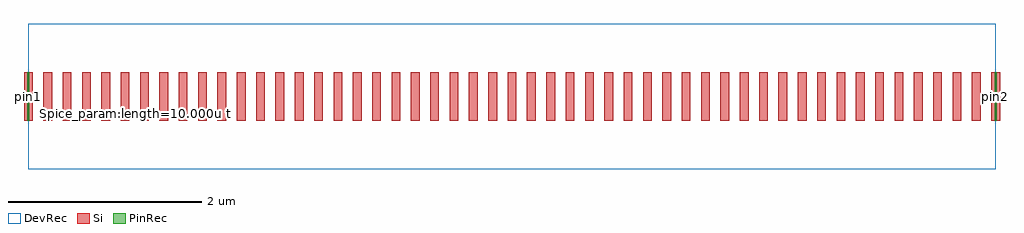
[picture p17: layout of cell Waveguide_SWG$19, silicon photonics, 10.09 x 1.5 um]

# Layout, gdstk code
import gdstk
lib = gdstk.Library(unit=1e-6, precision=1e-09)
def R(c, l, rs):  # rectangles x0, y0, x1, y1
    for r in rs: c.add(gdstk.rectangle(r[:2], r[2:], *l))
def A(c, l, x, y, w, h, nx, ny, dx, dy):  # array of equal rectangles
    R(c, l, [(x+i*dx, y+j*dy, x+i*dx+w, y+j*dy+h) for i in range(nx) for j in range(ny)])
Si = (1, 0)
PinRec = (1, 10)
DevRec = (68, 0)

waveguide_swg_19 = lib.new_cell('Waveguide_SWG$19')
A(waveguide_swg_19, Si, -0.045, -0.25, 0.09, 0.5, 51, 1, 0.2, 0)
R(waveguide_swg_19, DevRec, [(0,-0.75,10,0.75)])
waveguide_swg_19.add(gdstk.FlexPath([(0.01,0),(-0.01,0)], 0.5, ends="flush", simple_path=True, layer=1, datatype=10))  # PinRec
waveguide_swg_19.add(gdstk.FlexPath([(9.99,0),(10.01,0)], 0.5, ends="flush", simple_path=True, layer=1, datatype=10))  # PinRec
waveguide_swg_19.add(gdstk.Label('pin1', (0,0), layer=1, texttype=10))
waveguide_swg_19.add(gdstk.Label('pin2', (10,0), layer=1, texttype=10))
waveguide_swg_19.add(gdstk.Label('Lumerical_INTERCONNECT_library=Design kits/ebeam_v1.2', (0,0), layer=68, texttype=0))
waveguide_swg_19.add(gdstk.Label('Component=NO_MODEL_AVAILABLE', (1,0), layer=68, texttype=0))
waveguide_swg_19.add(gdstk.Label('Spice_param:length=10.000u target_period=0.200u grating_period=0.200u wg_width=0.500u duty=0.450 ', (1.111,-0.18), layer=68, texttype=0))

lib.write_gds('Waveguide_SWG_19.gds')
